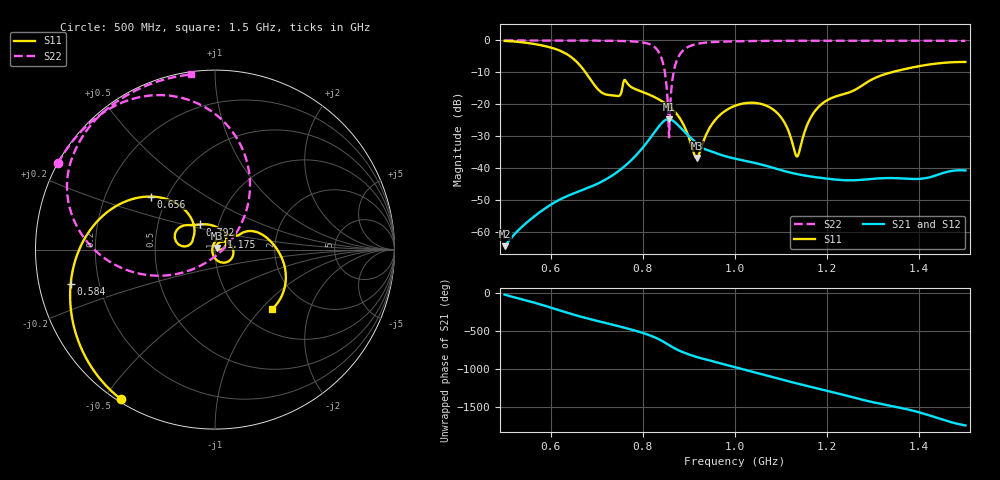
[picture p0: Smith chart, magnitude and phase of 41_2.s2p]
! TOUCHSTONE file generated by CST MICROWAVE STUDIO
! Date and time: Wed Oct 28 19:41:05 2020
! Project name: Scenario_1_Circular_Tissue_out_of_Line_v2.cst
! Parameters = {dy1=346; L_HA=400; MT=2.54; Rad_Dielectric=30; Rad_Lower=7.3; Rad_Upper=30; a_HA=580; a_WG=246; b_HA=500; b_WG=121; c_HA=0; c_WG=187; d_feed=85; dx1=346; h_feed=15; h_lower=18; h_upper=40}
! Header version: 2018
! Port assignment regex: !\s*Touchstone port\s*([0-9]+)\s*=\s*(CST MWS port|CST DS port)\s*([0-9]+|Zmin|Zmax)\s*\(\"(.*)\"\)(\s*mode\s*([0-9]+))?.*
! Touchstone port assignment:
! Touchstone port 1 = CST MWS port 1 ("")
! Touchstone port 2 = CST MWS port 2 ("")
# GHz S DB R 50
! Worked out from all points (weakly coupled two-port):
!   1003 points, 500 MHz to 1.5 GHz, reference 50 ohm
!   highest |S21| = -24.67 dB at 856 MHz (marker M1); lowest = -64.5 dB at 500 MHz (marker M2)
!   lowest |S11| = -36.9 dB at 917 MHz (marker M3), VSWR 1.03, Z = 51.2 + j0.853 ohm
!   |S11| at or under -10 dB: 675.6 MHz to 1.339 GHz (663.8 MHz wide, 65.9 % of centre)
!   |S22| runs from -30.4 to 0.0 dB; largest |S21 - S12| = 6.8e-06
!   S11 on the Smith chart (normalised r, x): 500 MHz: 0.01, -0.55; 584 MHz: 0.10, -0.12; 656 MHz: 0.41, +0.31; 792 MHz: 0.81, +0.23; 1.175 GHz: 1.06, +0.16; 1.5 GHz: 1.38, -1.16
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0.5  -0.14 -122.3  -64.49 -25.0  -64.49 -25.0  -0.01 151.1
0.584  -1.65 -166.6  -53.05 -166.0  -53.05 -166.0  -0.02 145.3
0.656  -6.65 140.5  -47.60 60.2  -47.60 60.2  -0.04 139.4
0.667  -8.39 133.0  -46.99 41.8  -46.99 41.8  -0.04 138.3
0.717  -16.80 143.0  -43.77 -35.4  -43.77 -35.4  -0.09 132.7
0.747  -17.43 160.4  -40.98 -80.5  -40.98 -80.5  -0.15 128.0
0.762  -12.53 150.1  -39.24 -103.8  -39.24 -103.8  -0.21 125.0
0.792  -15.74 121.0  -34.93 -154.5  -34.93 -154.5  -0.48 116.0
0.834  -18.42 79.9  -27.09 110.1  -27.09 110.1  -3.52 81.8
0.846  -19.47 64.7  -25.23 70.8  -25.23 70.8  -8.56 58.8
0.856  -20.51 51.2  -24.67 34.0  -24.67 34.0  -27.52 -2.7
0.867  -21.97 36.0  -25.33 -5.0  -25.33 -5.0  -9.78 -153.4
0.876  -23.52 23.8  -26.49 -32.9  -26.49 -32.9  -5.51 -168.9
0.917  -36.87 35.5  -32.22 -125.5  -32.22 -125.5  -1.11 159.2
0.953  -25.66 54.7  -35.02 176.1  -35.02 176.1  -0.51 148.1
1  -20.48 10.1  -37.05 101.3  -37.05 101.3  -0.28 140.2
1.085  -21.89 -63.1  -40.03 -35.0  -40.03 -35.0  -0.13 131.0
1.134  -36.39 -178.3  -41.88 -112.3  -41.88 -112.3  -0.10 126.8
1.167  -23.52 73.6  -42.71 -161.2  -42.71 -161.2  -0.09 124.2
1.175  -21.87 65.4  -42.87 -172.8  -42.87 -172.8  -0.09 123.5
1.334  -10.21 9.6  -43.13 -42.8  -43.14 -42.8  -0.09 111.4
1.5  -6.75 -46.1  -40.75 55.2  -40.75 55.1  -0.13 97.8
